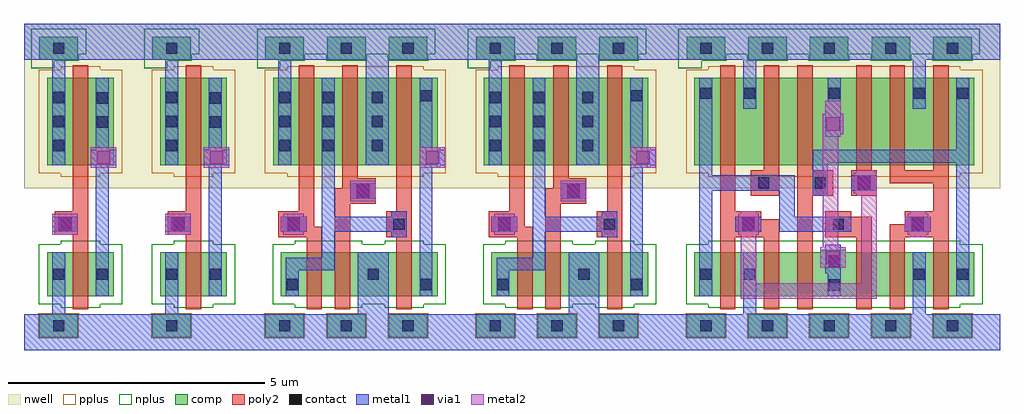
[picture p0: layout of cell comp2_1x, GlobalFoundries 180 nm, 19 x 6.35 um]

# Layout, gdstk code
import gdstk
lib = gdstk.Library(unit=1e-6, precision=1e-09)
def R(c, l, rs):  # rectangles x0, y0, x1, y1
    for r in rs: c.add(gdstk.rectangle(r[:2], r[2:], *l))
def A(c, l, x, y, w, h, nx, ny, dx, dy):  # array of equal rectangles
    R(c, l, [(x+i*dx, y+j*dy, x+i*dx+w, y+j*dy+h) for i in range(nx) for j in range(ny)])
nwell = (21, 0)
comp = (22, 0)
poly2 = (30, 0)
pplus = (31, 0)
nplus = (32, 0)
contact = (33, 0)
metal1 = (34, 0)
via1 = (35, 0)
metal2 = (36, 0)

gf180mcu_osu_sc_gp9t3v3_ = lib.new_cell('gf180mcu_osu_sc_gp9t3v3__xnor2_1')
R(gf180mcu_osu_sc_gp9t3v3_, nwell, [(0,3.15,6.4,6.35)])
A(gf180mcu_osu_sc_gp9t3v3_, comp, 0.3, 0.25, 0.75, 0.45, 5, 2, 1.2, 5.4)
R(gf180mcu_osu_sc_gp9t3v3_, comp, [(0.45,1.05,5.9,1.9), (2.9,1.9,3.4,1.95), (0.45,3.6,5.9,5.3)])
R(gf180mcu_osu_sc_gp9t3v3_, poly2, [(0.95,0.8,1.25,2.2), (1.8,0.8,2.1,2.2), (2.45,0.8,2.75,3), (3.6,0.8,3.9,2.2), (4.25,0.8,4.55,2.2), (5.1,0.8,5.4,2.2), (0.95,2.2,2.1,2.55), (3,2.2,3.9,2.6), (4.25,2.2,5.4,2.45), (4.55,2.45,5.4,2.7), (0.95,2.55,1.75,2.7), (3,2.6,3.5,2.7), (0.95,2.7,1.25,5.55), (5.1,2.7,5.4,3.25), (1.55,3,2.1,3.5), (2.45,3,3.15,3.5), (3.5,3,4,3.5), (4.25,3.25,5.4,3.5), (1.8,3.5,2.1,5.55), (2.45,3.5,2.75,5.55), (3.6,3.5,3.9,5.55), (4.25,3.5,4.55,5.55), (5.1,3.5,5.4,5.55)])
A(gf180mcu_osu_sc_gp9t3v3_, pplus, 0.28, 0.23, 0.79, 0.49, 5, 1, 1.2, 0)
R(gf180mcu_osu_sc_gp9t3v3_, pplus, [(0.72,3.37,5.63,3.44), (0.29,3.44,6.06,5.46), (0.72,5.46,5.63,5.53)])
A(gf180mcu_osu_sc_gp9t3v3_, nplus, 1.48, 5.63, 0.79, 0.13, 4, 1, 1.2, 0)
R(gf180mcu_osu_sc_gp9t3v3_, nplus, [(0.72,0.82,5.63,0.89), (0.29,0.89,6.06,2.06), (0.72,2.06,5.63,2.13), (0.14,5.49,0.59,5.63), (0.14,5.63,1.07,5.76), (0.14,5.76,6.01,6.26)])
A(gf180mcu_osu_sc_gp9t3v3_, contact, 0.565, 0.365, 0.22, 0.22, 5, 2, 1.2, 5.4)
A(gf180mcu_osu_sc_gp9t3v3_, contact, 1.415, 4.89, 0.22, 0.22, 3, 1, 1.65, 0)
R(gf180mcu_osu_sc_gp9t3v3_, contact, [(3.065,1.155,3.285,1.375), (0.565,1.365,0.785,1.585), (1.415,1.365,1.635,1.585), (4.715,1.365,4.935,1.585), (5.565,1.365,5.785,1.585), (3.065,1.625,3.285,1.845), (1.39,2.34,1.61,2.56), (3.14,2.34,3.36,2.56), (4.69,2.34,4.91,2.56), (1.69,3.14,1.91,3.36), (2.79,3.14,3.01,3.36), (3.64,3.14,3.86,3.36), (0.565,4.89,0.785,5.11), (5.565,4.89,5.785,5.11)])
R(gf180mcu_osu_sc_gp9t3v3_, metal1, [(0,0,6.4,0.7), (1.4,0.7,1.65,1.9), (4.7,0.7,4.95,1.9), (0.55,1.05,0.8,3.1), (3.05,1.05,3.3,1.5), (5.55,1.05,5.8,3.65), (3,1.5,3.3,2.05), (1.25,2.3,1.75,2.6), (2.1,2.3,3.5,2.6), (4.55,2.3,5.05,2.6), (2.1,2.6,2.4,3.1), (2.75,3,3.05,3.65), (0.55,3.1,2.4,3.4), (3.5,3.1,4,3.4), (0.55,3.4,0.8,5.3), (2.75,3.65,5.8,3.9), (5.55,3.9,5.8,5.3), (3,4.15,3.3,4.85), (1.4,4.7,1.65,5.65), (4.7,4.7,4.95,5.65), (3.05,4.85,3.3,5.3), (0,5.65,6.4,6.35)])
R(gf180mcu_osu_sc_gp9t3v3_, via1, [(3.02,1.67,3.28,1.93), (1.37,2.32,1.63,2.58), (4.67,2.32,4.93,2.58), (3.62,3.12,3.88,3.38), (3.02,4.27,3.28,4.53)])
R(gf180mcu_osu_sc_gp9t3v3_, metal2, [(1.35,1,4,1.3), (1.35,1.3,1.65,2.25), (3.7,1.3,4,3), (2.9,1.6,3.4,2), (2.95,2,3.25,4.15), (4.65,2.2,4.95,2.25), (1.3,2.25,1.7,2.65), (4.6,2.25,5,2.3), (4.55,2.3,5.05,2.6), (4.6,2.6,5,2.65), (1.35,2.65,1.65,2.7), (4.65,2.65,4.95,2.7), (3.6,3,4,3.05), (3.55,3.05,4,3.45), (3.6,3.45,3.95,3.5), (2.95,4.15,3.3,4.2), (2.95,4.2,3.35,4.6), (3,4.6,3.3,4.85)])
gf180mcu_osu_sc_gp9t3v3_.add(gdstk.Label('A', (1.5,2.45), layer=36, texttype=10))
gf180mcu_osu_sc_gp9t3v3_.add(gdstk.Label('B', (4.8,2.45), layer=36, texttype=10))
gf180mcu_osu_sc_gp9t3v3_.add(gdstk.Label('Y', (3.15,4.35), layer=36, texttype=10))
gf180mcu_osu_sc_gp9t3v3_.add(gdstk.Label('VDD', (0.65,5.85), layer=34, texttype=10))
gf180mcu_osu_sc_gp9t3v3_.add(gdstk.Label('VSS', (0.65,0.45), layer=34, texttype=10))

c_gf180mcu_osu_sc_gp9t3v3_ = lib.new_cell('gf180mcu_osu_sc_gp9t3v3__inv_1')
R(c_gf180mcu_osu_sc_gp9t3v3_, nwell, [(0,3.15,2.2,6.35)])
R(c_gf180mcu_osu_sc_gp9t3v3_, comp, [(0.3,0.25,1.05,0.7), (0.45,1.05,1.75,1.9), (0.45,3.6,1.75,5.3), (0.3,5.65,1.05,6.1)])
R(c_gf180mcu_osu_sc_gp9t3v3_, poly2, [(0.95,0.8,1.25,2.25), (0.6,2.25,1.25,2.7), (0.95,2.7,1.25,5.55)])
R(c_gf180mcu_osu_sc_gp9t3v3_, pplus, [(0.28,0.23,1.07,0.72), (0.72,3.37,1.48,3.44), (0.29,3.44,1.91,5.46), (0.72,5.46,1.48,5.53)])
R(c_gf180mcu_osu_sc_gp9t3v3_, nplus, [(0.72,0.82,1.48,0.89), (0.29,0.89,1.91,2.06), (0.72,2.06,1.48,2.13), (0.14,5.49,0.59,5.63), (0.14,5.63,1.07,5.76), (0.14,5.76,1.21,6.26)])
A(c_gf180mcu_osu_sc_gp9t3v3_, contact, 0.565, 3.87, 0.22, 0.22, 1, 3, 0, 0.47)
R(c_gf180mcu_osu_sc_gp9t3v3_, contact, [(0.565,0.365,0.785,0.585), (0.565,1.365,0.785,1.585), (1.415,1.365,1.635,1.585), (0.715,2.365,0.935,2.585), (1.415,4.33,1.635,4.55), (1.415,4.8,1.635,5.02), (0.565,5.765,0.785,5.985)])
R(c_gf180mcu_osu_sc_gp9t3v3_, metal1, [(0,0,2.2,0.7), (0.55,0.7,0.8,1.9), (1.4,1.05,1.65,3.6), (0.55,2.3,1.05,2.6), (0.55,3.6,0.8,5.65), (1.3,3.6,1.8,3.9), (1.4,3.9,1.65,5.3), (0,5.65,2.2,6.35)])
R(c_gf180mcu_osu_sc_gp9t3v3_, via1, [(0.67,2.32,0.93,2.58), (1.42,3.62,1.68,3.88)])
R(c_gf180mcu_osu_sc_gp9t3v3_, metal2, [(0.55,2.25,1.05,2.65), (1.3,3.55,1.8,3.95)])
c_gf180mcu_osu_sc_gp9t3v3_.add(gdstk.Label('A', (0.8,2.45), layer=36, texttype=10))
c_gf180mcu_osu_sc_gp9t3v3_.add(gdstk.Label('Y', (1.55,3.75), layer=36, texttype=10))
c_gf180mcu_osu_sc_gp9t3v3_.add(gdstk.Label('VDD', (0.7,5.85), layer=34, texttype=10))
c_gf180mcu_osu_sc_gp9t3v3_.add(gdstk.Label('VSS', (0.7,0.45), layer=34, texttype=10))

c_gf180mcu_osu_sc_gp9t3v3__ = lib.new_cell('gf180mcu_osu_sc_gp9t3v3__and2_1')
R(c_gf180mcu_osu_sc_gp9t3v3__, nwell, [(0,3.15,4.1,6.35)])
A(c_gf180mcu_osu_sc_gp9t3v3__, comp, 0.3, 0.25, 0.75, 0.45, 3, 2, 1.2, 5.4)
R(c_gf180mcu_osu_sc_gp9t3v3__, comp, [(0.6,1.05,3.65,1.9), (0.45,3.6,3.65,5.3)])
R(c_gf180mcu_osu_sc_gp9t3v3__, poly2, [(1.1,0.8,1.4,2.2), (1.65,0.8,1.95,2.85), (2.85,0.8,3.15,2.2), (0.55,2.2,1.4,2.4), (2.65,2.2,3.15,2.7), (0.55,2.4,1.25,2.7), (0.95,2.7,1.25,5.55), (2.85,2.7,3.15,5.55), (1.65,2.85,2.45,3.15), (1.8,3.15,2.45,3.35), (1.8,3.35,2.1,5.55)])
A(c_gf180mcu_osu_sc_gp9t3v3__, pplus, 0.28, 0.23, 0.79, 0.49, 3, 1, 1.2, 0)
R(c_gf180mcu_osu_sc_gp9t3v3__, pplus, [(0.72,3.37,3.38,3.44), (0.29,3.44,3.81,5.46), (0.72,5.46,3.38,5.53)])
R(c_gf180mcu_osu_sc_gp9t3v3__, nplus, [(0.87,0.82,2.18,0.89), (2.62,0.82,3.38,0.89), (0.44,0.89,3.81,2.06), (0.87,2.06,2.18,2.13), (2.62,2.06,3.38,2.13), (0.14,5.49,0.59,5.63), (0.14,5.63,1.07,5.76), (1.48,5.63,2.27,5.76), (2.68,5.63,3.47,5.76), (0.14,5.76,3.61,6.26)])
A(c_gf180mcu_osu_sc_gp9t3v3__, contact, 0.565, 0.365, 0.22, 0.22, 3, 2, 1.2, 5.4)
A(c_gf180mcu_osu_sc_gp9t3v3__, contact, 0.565, 3.87, 0.22, 0.22, 1, 3, 0, 0.47)
A(c_gf180mcu_osu_sc_gp9t3v3__, contact, 1.415, 3.87, 0.22, 0.22, 1, 3, 0, 0.47)
A(c_gf180mcu_osu_sc_gp9t3v3__, contact, 2.365, 3.87, 0.22, 0.22, 1, 3, 0, 0.47)
R(c_gf180mcu_osu_sc_gp9t3v3__, contact, [(0.715,1.165,0.935,1.385), (3.315,1.165,3.535,1.385), (2.29,1.365,2.51,1.585), (0.74,2.34,0.96,2.56), (2.79,2.34,3.01,2.56), (2.09,2.99,2.31,3.21), (3.315,4.84,3.535,5.06)])
R(c_gf180mcu_osu_sc_gp9t3v3__, metal1, [(0,0,4.1,0.7), (2.1,0.7,2.7,1.9), (0.7,1.05,0.95,1.55), (3.3,1.05,3.55,3.55), (0.7,1.55,1.65,1.8), (1.4,1.8,1.65,2.3), (2.75,2.2,3.05,2.3), (0.6,2.3,1.1,2.6), (1.4,2.3,3.05,2.6), (1.4,2.6,1.65,5.3), (2.75,2.6,3.05,2.7), (1.95,2.95,2.45,3.25), (3.3,3.55,3.7,3.6), (0.55,3.6,0.8,5.65), (2.25,3.6,2.7,5.65), (3.3,3.6,3.8,3.9), (3.3,3.9,3.7,3.95), (3.3,3.95,3.55,5.3), (0,5.65,4.1,6.35)])
R(c_gf180mcu_osu_sc_gp9t3v3__, via1, [(0.72,2.32,0.98,2.58), (2.07,2.97,2.33,3.23), (3.42,3.62,3.68,3.88)])
R(c_gf180mcu_osu_sc_gp9t3v3__, metal2, [(0.65,2.25,1.05,2.3), (0.6,2.3,1.1,2.6), (0.65,2.6,1.05,2.65), (1.95,2.9,2.45,3.3), (3.3,3.55,3.8,3.95)])
c_gf180mcu_osu_sc_gp9t3v3__.add(gdstk.Label('A', (0.85,2.45), layer=36, texttype=10))
c_gf180mcu_osu_sc_gp9t3v3__.add(gdstk.Label('B', (2.2,3.1), layer=36, texttype=10))
c_gf180mcu_osu_sc_gp9t3v3__.add(gdstk.Label('Y', (3.55,3.75), layer=36, texttype=10))
c_gf180mcu_osu_sc_gp9t3v3__.add(gdstk.Label('VDD', (0.65,5.85), layer=34, texttype=10))
c_gf180mcu_osu_sc_gp9t3v3__.add(gdstk.Label('VSS', (0.65,0.5), layer=34, texttype=10))

comp2_1x = lib.new_cell('comp2_1x')
comp2_1x.add(gdstk.Reference(gf180mcu_osu_sc_gp9t3v3_, (12.6,0)))
comp2_1x.add(gdstk.Reference(c_gf180mcu_osu_sc_gp9t3v3_, (2.2,0)))
comp2_1x.add(gdstk.Reference(c_gf180mcu_osu_sc_gp9t3v3_, (0,0)))
comp2_1x.add(gdstk.Reference(c_gf180mcu_osu_sc_gp9t3v3__, (8.5,0)))
comp2_1x.add(gdstk.Reference(c_gf180mcu_osu_sc_gp9t3v3__, (4.4,0)))

lib.write_gds('comp2_1x.gds')
